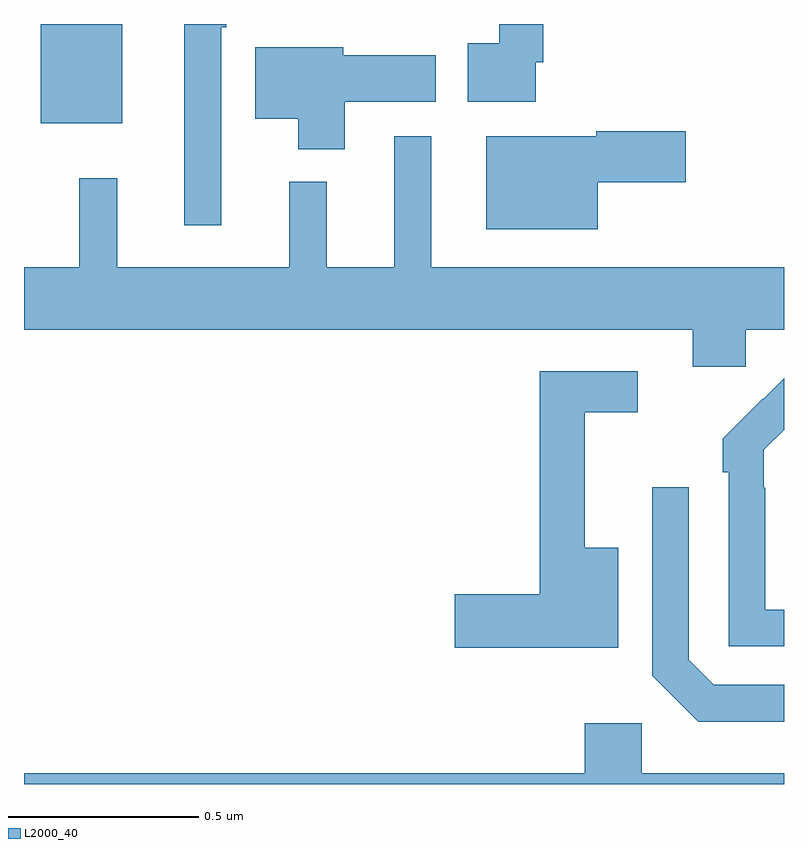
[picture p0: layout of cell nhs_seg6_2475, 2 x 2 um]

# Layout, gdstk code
import gdstk
lib = gdstk.Library(unit=1e-6, precision=1e-09)
def R(c, l, rs):  # rectangles x0, y0, x1, y1
    for r in rs: c.add(gdstk.rectangle(r[:2], r[2:], *l))
def P(c, l, *ps):  # polygons
    for p in ps: c.add(gdstk.Polygon(p, *l))
L2000_40 = (2000, 40)

nhs_seg6_2475 = lib.new_cell('nhs_seg6_2475')
R(nhs_seg6_2475, L2000_40, [(144.044,921.239,144.259,921.5)])
P(nhs_seg6_2475, L2000_40, [(144.519,921.491),(144.532,921.491),(144.532,921.5),(144.422,921.5),(144.422,920.97),(144.519,920.97)],
  [(145.347,921.4),(145.367,921.4),(145.367,921.5),(145.25,921.5),(145.25,921.449),(145.168,921.449),(145.168,921.296),(145.347,921.296)],
  [(144.844,921.296),(145.083,921.296),(145.083,921.418),(144.84,921.418),(144.84,921.439),(144.608,921.439),(144.608,921.251),(144.722,921.251),(144.722,921.17),(144.844,921.17)],
  [(145.51,921.083),(145.741,921.083),(145.741,921.218),(145.506,921.218),(145.506,921.205),(145.217,921.205),(145.217,920.96),(145.51,920.96)],
  [(145.899,920.696),(146,920.696),(146,920.86),(145.072,920.86),(145.072,921.205),(144.974,921.205),(144.974,920.86),(144.797,920.86),(144.797,921.085),(144.698,921.085),(144.698,920.86),(144.245,920.86),(144.245,921.094),(144.145,921.094),(144.145,920.86),(144,920.86),(144,920.696),(145.76,920.696),(145.76,920.598),(145.899,920.598)],
  [(145.564,920.122),(145.475,920.122),(145.475,920.478),(145.615,920.478),(145.615,920.586),(145.357,920.586),(145.357,920),(145.134,920),(145.134,919.858),(145.564,919.858)],
  [(146,919.959),(145.95,919.959),(145.95,920.279),(145.947,920.279),(145.947,920.379),(146,920.432),(146,920.568),(145.945,920.513),(145.944,920.514),(145.839,920.409),(145.839,920.321),(145.854,920.321),(145.854,919.863),(146,919.863)],
  [(146,919.761),(145.815,919.761),(145.749,919.827),(145.749,920.281),(145.653,920.281),(145.653,919.785),(145.774,919.664),(146,919.664)],
  [(146,919.528),(145.626,919.528),(145.626,919.66),(145.475,919.66),(145.475,919.528),(144,919.528),(144,919.5),(146,919.5)])

lib.write_gds('nhs_seg6_2475.gds')
